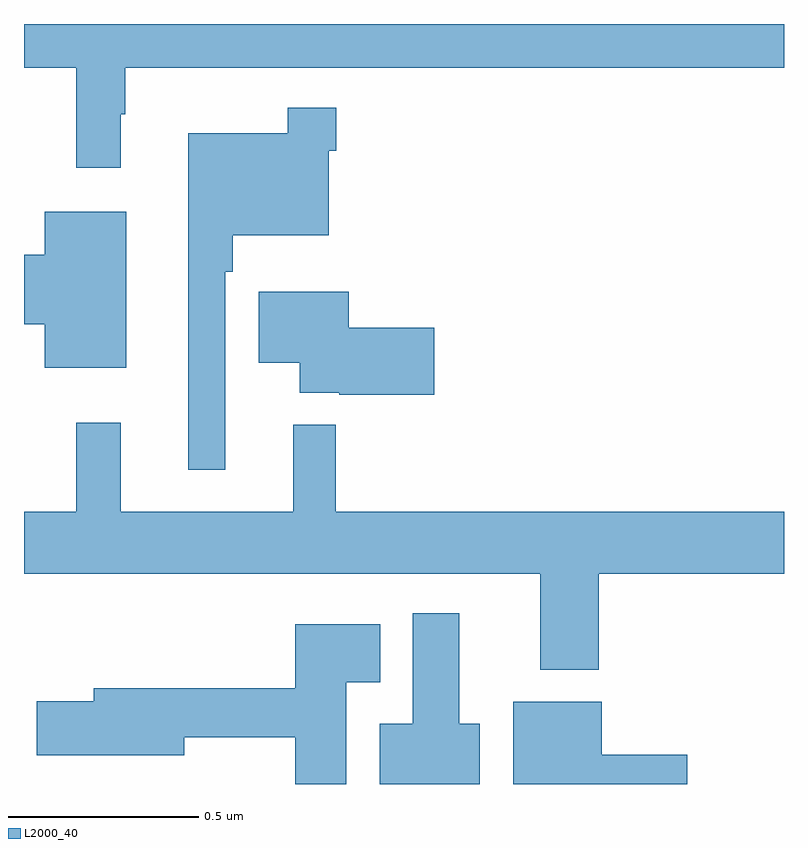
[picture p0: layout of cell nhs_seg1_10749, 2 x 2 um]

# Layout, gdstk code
import gdstk
lib = gdstk.Library(unit=1e-6, precision=1e-09)
def P(c, l, *ps):  # polygons
    for p in ps: c.add(gdstk.Polygon(p, *l))
L2000_40 = (2000, 40)

nhs_seg1_10749 = lib.new_cell('nhs_seg1_10749')
P(nhs_seg1_10749, L2000_40, [(245.254,532.961),(245.266,532.961),(245.266,533.084),(247,533.084),(247,533.199),(245,533.199),(245,533.084),(245.137,533.084),(245.137,532.821),(245.254,532.821)],
  [(245.529,532.547),(245.549,532.547),(245.549,532.643),(245.802,532.643),(245.802,532.865),(245.822,532.865),(245.822,532.978),(245.694,532.978),(245.694,532.912),(245.432,532.912),(245.432,532.026),(245.529,532.026)],
  [(245.269,532.705),(245.054,532.705),(245.054,532.592),(245,532.592),(245,532.409),(245.054,532.409),(245.054,532.295),(245.269,532.295)],
  [(246.079,532.4),(245.854,532.4),(245.854,532.495),(245.618,532.495),(245.618,532.307),(245.726,532.307),(245.726,532.229),(245.83,532.229),(245.83,532.224),(246.079,532.224)],
  [(246.512,531.752),(247,531.752),(247,531.916),(245.82,531.916),(245.82,532.144),(245.708,532.144),(245.708,531.916),(245.255,531.916),(245.255,532.15),(245.137,532.15),(245.137,531.916),(245,531.916),(245,531.752),(246.359,531.752),(246.359,531.5),(246.512,531.5)],
  [(246.199,531.358),(246.145,531.358),(246.145,531.649),(246.023,531.649),(246.023,531.358),(245.936,531.358),(245.936,531.199),(246.199,531.199)],
  [(245.848,531.467),(245.938,531.467),(245.938,531.619),(245.714,531.619),(245.714,531.451),(245.183,531.451),(245.183,531.417),(245.034,531.417),(245.034,531.275),(245.422,531.275),(245.422,531.322),(245.714,531.322),(245.714,531.199),(245.848,531.199)],
  [(246.745,531.276),(246.52,531.276),(246.52,531.415),(246.287,531.415),(246.287,531.199),(246.745,531.199)])

lib.write_gds('nhs_seg1_10749.gds')
